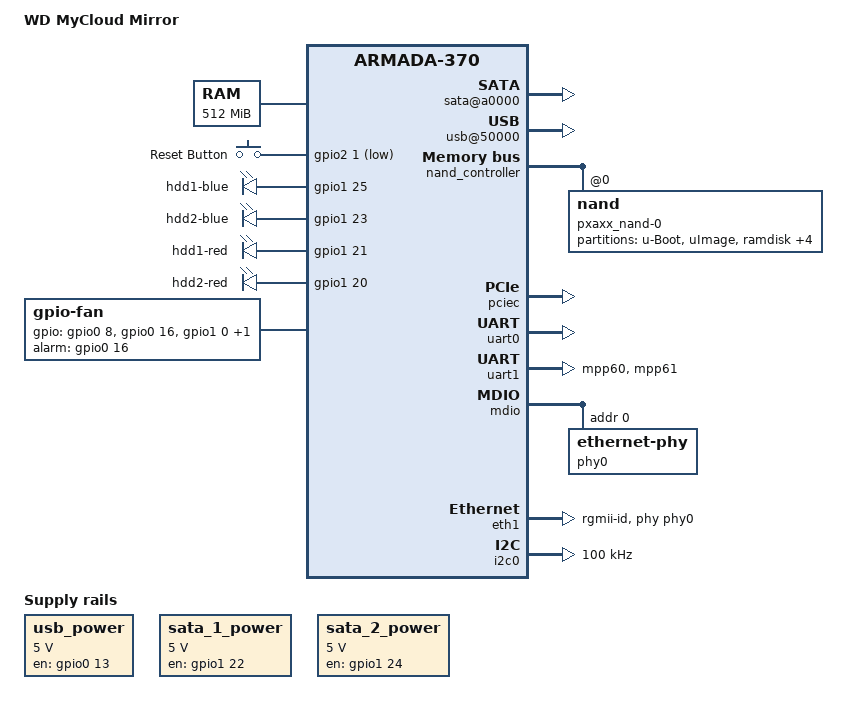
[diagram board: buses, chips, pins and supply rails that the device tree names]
// SPDX-License-Identifier: (GPL-2.0)
/*
 * Device Tree file for WD MyCloud Mirror
 * Based on DB-88F6710-BP-DDR3
 *
 *  Copyright (C) 2026
 *
 * Lior Amsalem <alior@marvell.com>
 * Gregory CLEMENT <gregory.clement@free-electrons.com>
 * Thomas Petazzoni <thomas.petazzoni@free-electrons.com>
 * Allester Fox <fox.axon@gmail.com>
 * Lutz Müller <lm@topfrose.de>
 *
 */

/dts-v1/;
#include <dt-bindings/input/input.h>
#include <dt-bindings/gpio/gpio.h>
#include "armada-370.dtsi"

/ {
	model = "WD MyCloud Mirror";
	compatible = "wd,cloud-mirror", "marvell,a370-db", "marvell,armada370", "marvell,armada-370-xp";

	chosen {
		bootargs = "rootfstype=squashfs root=/dev/mtdblock3 ro board=wd,cloud-mirror";
		stdout-path = "serial0:115200n8";
		append-rootblock = "nullparameter=";
	};

	memory@0 {
		device_type = "memory";
		reg = <0x00000000 0x20000000>; /* 512 MiB */
	};

	soc {
		ranges = <MBUS_ID(0xf0, 0x01) 0 0xf1000000 0x100000
			MBUS_ID(0x01, 0xe0) 0 0xfff00000 0x100000
			MBUS_ID(0x09, 0x01) 0 0xf1100000 0x10000>;

		internal-regs {
			sata@a0000 {
				nr-ports = <2>;
				status = "okay";
			};

			usb@50000 {
				status = "okay";
			};

			nand_controller: nand-controller@d0000 {
				status = "okay";

				nand: nand@0 {
					reg = <0>;
					label = "pxaxx_nand-0";
					nand-rb = <0>;
					marvell,nand-keep-config;
					nand-on-flash-bbt;
					nand-ecc-strength = <4>;
					nand-ecc-step-size = <512>;

					partitions {
						compatible = "fixed-partitions";
						#address-cells = <1>;
						#size-cells = <1>;

						partition@0 {
							label = "u-Boot";
							reg = <0x00000000 0x00500000>;
							read-only;
						};
						partition@500000 {
							label = "uImage";
							reg = <0x00500000 0x00500000>;
						};
						partition@a00000 {
							label = "ramdisk";
							reg = <0x00A00000 0x00500000>;
						};
						partition@f00000 {
							label = "image.cfs";
							reg = <0x00f00000 0x0c900000>;
						};
						partition@dd00000 {
							label = "rescue firmware";
							reg = <0x0dd00000 0x00f00000>;
						};
						partition@ec00000 {
							label = "config";
							reg = <0x0ec00000 0x01400000>;
						};
						partition@d800000 {
							label = "reserve";
							reg = <0x0d800000 0x00500000>;
						};
					};
				};
			};
		};
	};

	gpio-keys {
		compatible = "gpio-keys";
		pinctrl-0 = <&reset_button_pin>;
		pinctrl-names = "default";

		reset-button {
			label = "Reset Button";
			linux,code = <KEY_RESTART>;
			gpios = <&gpio2 1 GPIO_ACTIVE_LOW>;
		};
	};

	gpio-leds {
		compatible = "gpio-leds";
		pinctrl-names = "default";
		pinctrl-0 = <&led_pins>;

		hdd1-blue {
			label = "hdd1-blue";
			gpios = <&gpio1 25 GPIO_ACTIVE_HIGH>;	// gpio57
			//linux,default-trigger = "none";
			default-state = "keep";
		};
		hdd2-blue {
			label = "hdd2-blue";
			gpios = <&gpio1 23 GPIO_ACTIVE_HIGH>;	// gpio55
			//linux,default-trigger = "none";
			default-state = "keep";
		};
		hdd1-red {
			label = "hdd1-red";
			gpios = <&gpio1 21 GPIO_ACTIVE_HIGH>;	// gpio53
			// linux,default-trigger = "none";
			default-state = "keep";
		};
		hdd2-red {
			label = "hdd2-red";
			gpios = <&gpio1 20 GPIO_ACTIVE_HIGH>;	// gpio52
			// linux,default-trigger = "none";
			default-state = "keep";
		};
	};

	gpio-fan {
		status = "okay";
		compatible = "gpio-fan";
		pinctrl-names = "default";
		pinctrl-0 = <&fan_pins>;

		gpios = <&gpio0 8 GPIO_ACTIVE_HIGH
				&gpio0 16 GPIO_ACTIVE_HIGH
				&gpio1 0 GPIO_ACTIVE_HIGH	// mpp32: 32-32=0
				&gpio0 6 GPIO_ACTIVE_HIGH>;
		alarm-gpios = <&gpio0 16 GPIO_ACTIVE_HIGH>;
		gpio-fan,speed-map = < 0 0
			 1500 1
			 1700 2
			 1800 3
			 2100 4>;
	};

	regulators {
		compatible = "simple-bus";
		#address-cells = <1>;
		#size-cells = <0>;

		usb_power: regulator@1 {
			compatible = "regulator-fixed";
			reg = <1>;
			pinctrl-0 = <&xhci_pwr_pin>;
			pinctrl-names = "default";
			regulator-name = "USB3.0 Port Power";
			regulator-min-microvolt = <5000000>;
			regulator-max-microvolt = <5000000>;
			enable-active-high;
			regulator-boot-on;
			regulator-always-on;
			gpio = <&gpio0 13 GPIO_ACTIVE_HIGH>;
		};

		sata_1_power: regulator@2 {
			compatible = "regulator-fixed";
			reg = <2>;
			pinctrl-0 = <&sata_1_pwr_pin>;
			pinctrl-names = "default";
			regulator-name = "SATA-1 Power";
			regulator-min-microvolt = <5000000>;
			regulator-max-microvolt = <5000000>;
			startup-delay-us = <2000000>;
			enable-active-high;
			regulator-always-on;
			regulator-boot-on;
			gpio = <&gpio1 22 GPIO_ACTIVE_HIGH>;
		};

		sata_2_power: regulator@3 {
			compatible = "regulator-fixed";
			reg = <3>;
			pinctrl-0 = <&sata_2_pwr_pin>;
			pinctrl-names = "default";
			regulator-name = "SATA-2 Power";
			regulator-min-microvolt = <5000000>;
			regulator-max-microvolt = <5000000>;
			startup-delay-us = <4000000>;
			enable-active-high;
			regulator-always-on;
			regulator-boot-on;
			gpio = <&gpio1 24 GPIO_ACTIVE_HIGH>;
		};
	};
};

&pciec {
	status = "okay";

	pcie@1,0 {
		/* Port 0, Lane 0 */
		status = "okay";
	};

	pcie@2,0 {
		/* Port 1, Lane 0 */
		status = "okay";
	};
};

&pinctrl {
	led_pins: led-pins {
		// HDD2-Red, HDD1-Red, HDD1-Blue, HDD2-Blue
		marvell,pins = "mpp52", "mpp53", "mpp57", "mpp55";
		marvell,function = "gpio";
	};

	fan_pins: fan-pins {
		marvell,pins = "mpp6", "mpp8", "mpp16", "mpp32";
		marvell,function = "gpio";
	};

	xhci_pwr_pin: xhci-pwr-pin {
		marvell,pins = "mpp13";
		marvell,function = "gpio";
	};

	sata_1_pwr_pin: sata-1-pwr-pin {
		marvell,pins = "mpp54";
		marvell,function = "gpio";
	};

	sata_2_pwr_pin: sata-2-pwr-pin {
		marvell,pins = "mpp56";
		marvell,function = "gpio";
	};

	uart1_pins: uart1-pins {
		marvell,pins = "mpp60", "mpp61";
		marvell,function = "uart1";
	};

	reset_button_pin: reset-button-pin {
		marvell,pins = "mpp64";
		marvell,function = "gpio";
	};
};

/* Serial console */
&uart0 {
	status = "okay";
};

/* Connected to Weltrend MCU */
&uart1 {
	pinctrl-0 = <&uart1_pins>;
	pinctrl-names = "default";
	status = "okay";
};

&mdio {
	phy0: ethernet-phy@0 { /* Marvell 88E1318 */
		reg = <0>;
	};
};

&eth1 {
	phy = <&phy0>;
	phy-mode = "rgmii-id";
	status = "okay";
};

&i2c0 {
	compatible = "marvell,mv64xxx-i2c";
	clock-frequency = <100000>;
	status = "okay";
};
